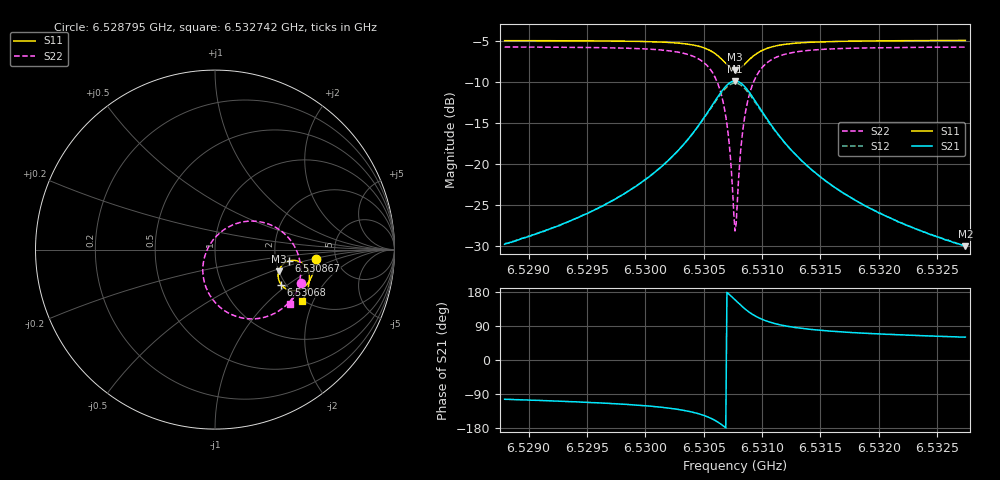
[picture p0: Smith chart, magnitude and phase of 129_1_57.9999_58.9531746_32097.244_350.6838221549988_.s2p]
#  HZ  S  RI  R  50.00
! Rohde & Schwarz Vector Network Analyzer
! Rohde-Schwarz,ZNB20-2Port,1311601062101988,3.16
! Created: UTC 3/21/2024, 12:56:02 AM
! freq[Hz]  re:S11  im:S11  re:S21  im:S21  re:S12  im:S12  re:S22  im:S22
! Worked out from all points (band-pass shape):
!   401 points, 6.528795 GHz to 6.532742 GHz, reference 50 ohm
!   highest |S21| = -9.89 dB at 6.530768 GHz (marker M1); lowest = -30.0 dB at 6.532742 GHz (marker M2)
!   |S21| within 3 dB of the highest: 6.530572 GHz to 6.530966 GHz (394.3 kHz wide, 0.00604 % of centre)
!   lowest |S11| = -8.5 dB at 6.530768 GHz (marker M3), VSWR 2.20, Z = 99.6 - j28.3 ohm
!   |S11| at or under -10 dB: nowhere
!   |S22| runs from -28.2 to -5.8 dB; largest |S21 - S12| = 0.013
!   S11 on the Smith chart (normalised r, x): 6.528795 GHz: 3.49, -0.54; 6.53068 GHz: 1.89, -0.89; 6.530867 GHz: 2.36, -0.36; 6.532742 GHz: 1.98, -1.66
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6.5287949e9  0.5607 -0.0533  -0.00757 -0.0315  -0.00836 -0.0314  0.4815 -0.1836
6.529456e9  0.5512 -0.1094  -0.0174 -0.045  -0.0185 -0.0447  0.4492 -0.2464
6.5298113e9  0.5409 -0.1432  -0.0293 -0.0583  -0.0309 -0.0576  0.4169 -0.2888
6.5301171e9  0.5241 -0.1775  -0.0521 -0.0774  -0.0545 -0.0758  0.3645 -0.3358
6.5303441e9  0.4969 -0.208  -0.0935 -0.0979  -0.0965 -0.0946  0.2802 -0.3757
6.5305118e9  0.4521 -0.228  -0.1646 -0.1051  -0.167 -0.0981  0.1491 -0.3802
6.5306105e9  0.4054 -0.2229  -0.2373 -0.078  -0.2364 -0.0677  0.0276 -0.3206
6.5306796e9  0.3686 -0.1948  -0.2911 -0.0174  -0.2847 -0.00657  -0.0512 -0.2078
6.5307191e9  0.3546 -0.1658  -0.3079 0.0377  -0.2983 0.0465  -0.068 -0.1133
6.5307585e9  0.3529 -0.1308  -0.3035 0.1007  -0.2917 0.1057  -0.0477 -0.0108
6.5307684e9  0.3547 -0.1219  -0.2985 0.1163  -0.2865 0.1202  -0.0365 0.0137
6.5307783e9  0.3575 -0.1134  -0.2918 0.1312  -0.2798 0.1341  -0.0229 0.0366
6.5307881e9  0.3613 -0.1052  -0.2838 0.1455  -0.272 0.1472  -0.00718 0.0584
6.5308276e9  0.3833 -0.0784  -0.2409 0.1908  -0.2309 0.1892  0.0721 0.1244
6.5308671e9  0.4111 -0.0636  -0.19 0.2153  -0.1828 0.2121  0.1603 0.1553
6.5309361e9  0.4561 -0.0624  -0.1115 0.2181  -0.1078 0.2147  0.2924 0.1443
6.5310348e9  0.496 -0.0841  -0.0437 0.1862  -0.0419 0.1843  0.402 0.074
6.5311828e9  0.5195 -0.1204  -0.00249 0.1379  -0.00112 0.1372  0.4622 -0.0248
6.5314295e9  0.5263 -0.1643  0.0153 0.0903  0.0165 0.0899  0.4776 -0.1251
6.5317058e9  0.5219 -0.1985  0.0184 0.0631  0.0195 0.0629  0.4688 -0.1885
6.5320906e9  0.5107 -0.2355  0.0181 0.0435  0.0188 0.0433  0.4495 -0.2433
6.5327419e9  0.4872 -0.2859  0.0156 0.0275  0.0162 0.0271  0.4156 -0.3034
